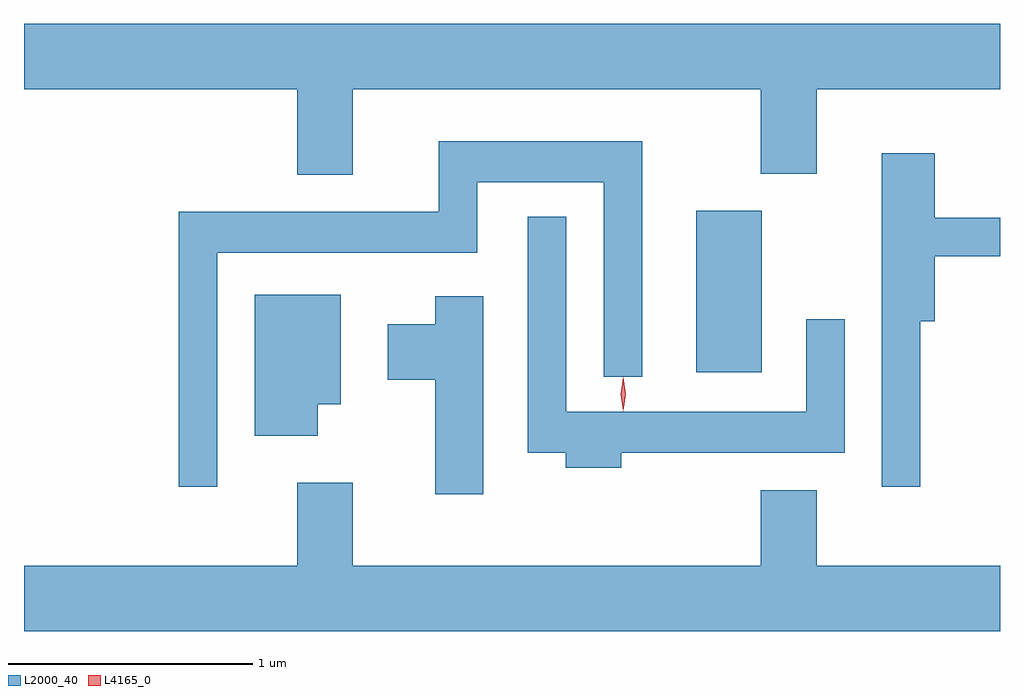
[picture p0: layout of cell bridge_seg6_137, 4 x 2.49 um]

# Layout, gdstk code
import gdstk
lib = gdstk.Library(unit=1e-6, precision=1e-09)
def R(c, l, rs):  # rectangles x0, y0, x1, y1
    for r in rs: c.add(gdstk.rectangle(r[:2], r[2:], *l))
def P(c, l, *ps):  # polygons
    for p in ps: c.add(gdstk.Polygon(p, *l))
L2000_40 = (2000, 40)
L4165_0 = (4165, 0)

bridge_seg6_137 = lib.new_cell('bridge_seg6_137')
R(bridge_seg6_137, L2000_40, [(1165.416,1633.236,1165.684,1633.899)])
P(bridge_seg6_137, L2000_40, [(1164.009,1634.396),(1165.681,1634.396),(1165.681,1634.051),(1165.909,1634.051),(1165.909,1634.396),(1166.661,1634.396),(1166.661,1634.664),(1162.661,1634.664),(1162.661,1634.396),(1163.781,1634.396),(1163.781,1634.046),(1164.009,1634.046)],
  [(1163.454,1633.726),(1164.519,1633.726),(1164.519,1634.016),(1165.036,1634.016),(1165.036,1633.218),(1165.194,1633.218),(1165.194,1634.184),(1164.361,1634.184),(1164.361,1633.894),(1163.296,1633.894),(1163.296,1632.768),(1163.454,1632.768)],
  [(1166.334,1633.446),(1166.394,1633.446),(1166.394,1633.711),(1166.661,1633.711),(1166.661,1633.869),(1166.394,1633.869),(1166.394,1634.134),(1166.176,1634.134),(1166.176,1632.768),(1166.334,1632.768)],
  [(1165.109,1632.906),(1166.024,1632.906),(1166.024,1633.453),(1165.866,1633.453),(1165.866,1633.074),(1164.884,1633.074),(1164.884,1633.873),(1164.726,1633.873),(1164.726,1632.906),(1164.881,1632.906),(1164.881,1632.846),(1165.109,1632.846)],
  [(1163.864,1633.106),(1163.959,1633.106),(1163.959,1633.554),(1163.606,1633.554),(1163.606,1632.976),(1163.864,1632.976)],
  [(1164.544,1633.549),(1164.346,1633.549),(1164.346,1633.434),(1164.151,1633.434),(1164.151,1633.206),(1164.346,1633.206),(1164.346,1632.736),(1164.544,1632.736)],
  [(1166.661,1632.444),(1165.909,1632.444),(1165.909,1632.754),(1165.681,1632.754),(1165.681,1632.444),(1164.009,1632.444),(1164.009,1632.784),(1163.781,1632.784),(1163.781,1632.444),(1162.661,1632.444),(1162.661,1632.176),(1166.661,1632.176)])
P(bridge_seg6_137, L4165_0, [(1165.117,1633.077),(1165.116,1633.078),(1165.107,1633.147),(1165.116,1633.216),(1165.117,1633.216),(1165.117,1633.216),(1165.127,1633.147),(1165.117,1633.078)],
  [(1165.116,1633.079),(1165.116,1633.08),(1165.106,1633.146),(1165.116,1633.212),(1165.116,1633.213),(1165.116,1633.212),(1165.126,1633.146),(1165.116,1633.08)])

lib.write_gds('bridge_seg6_137.gds')
